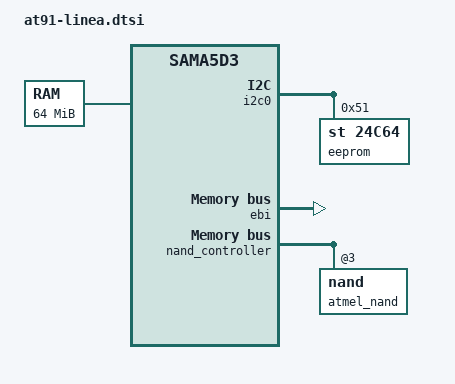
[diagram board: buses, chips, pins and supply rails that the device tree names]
// SPDX-License-Identifier: GPL-2.0-or-later
/*
 * at91-linea.dtsi - Device Tree Include file for the Axentia Linea Module.
 *
 * Copyright (C) 2017 Axentia Technologies AB
 *
 * Author: Peter Rosin <peda@axentia.se>
 */

#include "sama5d31.dtsi"

/ {
	compatible = "axentia,linea",
		     "atmel,sama5d31", "atmel,sama5d3", "atmel,sama5";

	memory@20000000 {
		reg = <0x20000000 0x4000000>;
	};
};

&slow_xtal {
	clock-frequency = <32768>;
};

&main_xtal {
	clock-frequency = <12000000>;
};

&tcb0 {
	timer@0 {
		compatible = "atmel,tcb-timer";
		reg = <0>;
	};

	timer@1 {
		compatible = "atmel,tcb-timer";
		reg = <1>;
	};
};

&i2c0 {
	status = "okay";

	eeprom@51 {
		compatible = "st,24c64", "atmel,24c64";
		reg = <0x51>;
		pagesize = <32>;
	};
};

&ebi {
	pinctrl-0 = <&pinctrl_ebi_nand_addr>;
	pinctrl-names = "default";
	status = "okay";
};


&nand_controller {
	status = "okay";

	nand: nand@3 {
		reg = <0x3 0x0 0x2>;
		atmel,rb = <0>;
		nand-bus-width = <8>;
		nand-ecc-mode = "hw";
		nand-ecc-strength = <4>;
		nand-ecc-step-size = <512>;
		nand-on-flash-bbt;
		label = "atmel_nand";
	};
};
